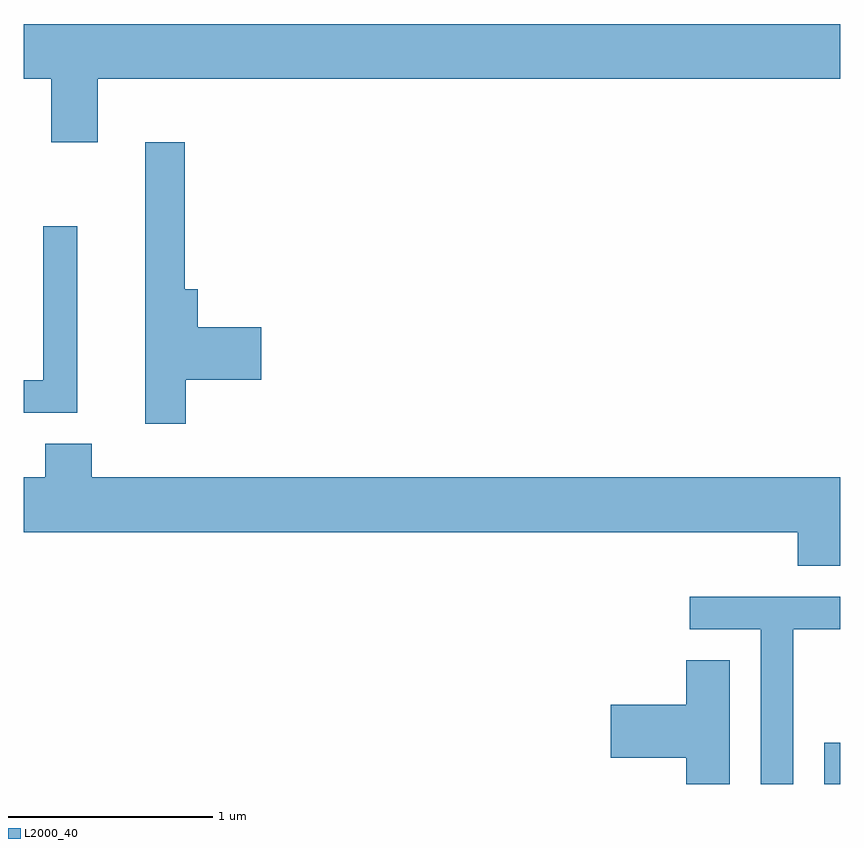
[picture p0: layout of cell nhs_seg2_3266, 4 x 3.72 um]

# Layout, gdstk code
import gdstk
lib = gdstk.Library(unit=1e-6, precision=1e-09)
def R(c, l, rs):  # rectangles x0, y0, x1, y1
    for r in rs: c.add(gdstk.rectangle(r[:2], r[2:], *l))
def P(c, l, *ps):  # polygons
    for p in ps: c.add(gdstk.Polygon(p, *l))
L2000_40 = (2000, 40)

nhs_seg2_3266 = lib.new_cell('nhs_seg2_3266')
R(nhs_seg2_3266, L2000_40, [(285.531,993.802,285.611,994.004)])
P(nhs_seg2_3266, L2000_40, [(281.974,997.256),(285.611,997.256),(285.611,997.524),(281.611,997.524),(281.611,997.256),(281.746,997.256),(281.746,996.946),(281.974,996.946)],
  [(282.404,995.781),(282.774,995.781),(282.774,996.039),(282.464,996.039),(282.464,996.224),(282.399,996.224),(282.399,996.944),(282.206,996.944),(282.206,995.566),(282.404,995.566)],
  [(281.874,996.533),(281.706,996.533),(281.706,995.779),(281.611,995.779),(281.611,995.621),(281.874,995.621)],
  [(285.611,995.304),(281.944,995.304),(281.944,995.469),(281.716,995.469),(281.716,995.304),(281.611,995.304),(281.611,995.036),(285.401,995.036),(285.401,994.871),(285.611,994.871)],
  [(285.379,994.561),(285.611,994.561),(285.611,994.719),(284.873,994.719),(284.873,994.561),(285.221,994.561),(285.221,993.802),(285.379,993.802)],
  [(285.069,994.409),(284.856,994.409),(284.856,994.189),(284.486,994.189),(284.486,993.931),(284.856,993.931),(284.856,993.802),(285.069,993.802)])

lib.write_gds('nhs_seg2_3266.gds')
